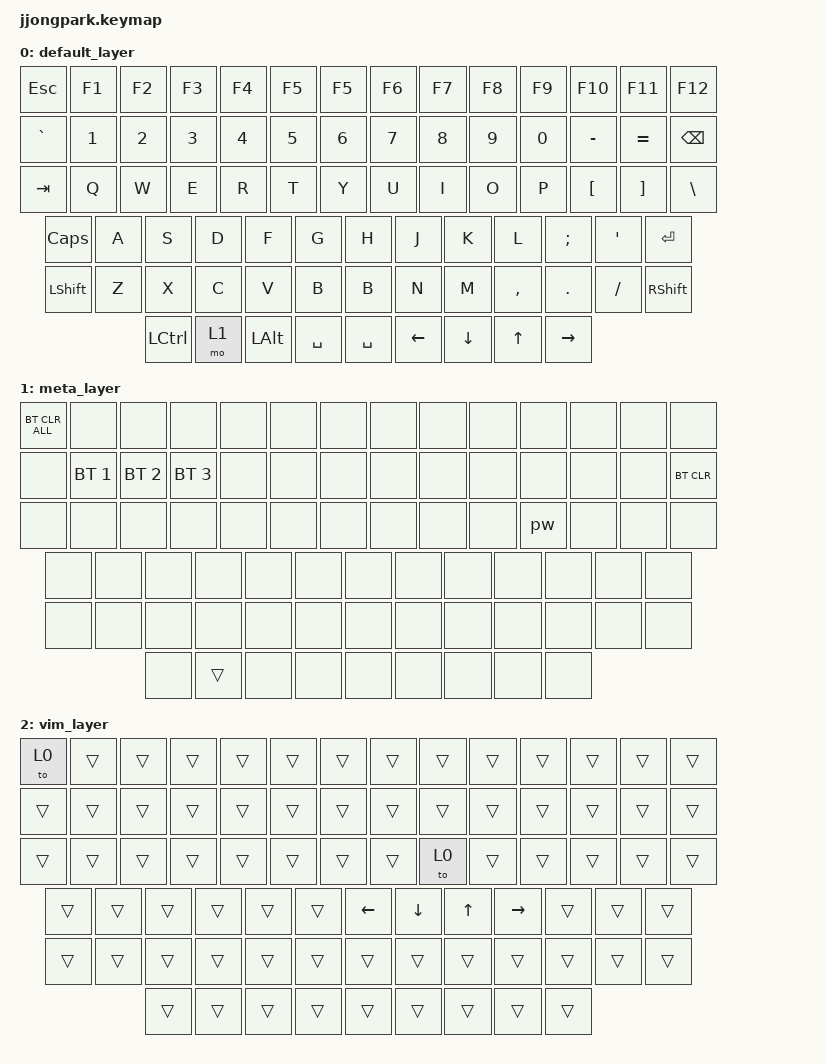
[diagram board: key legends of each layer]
#include <behaviors.dtsi>
#include <dt-bindings/zmk/keys.h>
#include <dt-bindings/zmk/bt.h>

/ {
    combos {
        compatible = "zmk,combos";
        combo_jk {
            timeout-ms = <100>;
            key-positions = <49 50>;
            bindings = <&to 2>;
        };
    };

    macros {
        pw: pw {
            compatible = "zmk,behavior-macro";
            #binding-cells = <0>;
            bindings
                = <&macro_tap &kp N7 &kp N7 &kp N4 &kp N9>
                , <&macro_press &kp LSHIFT>
                , <&macro_tap &kp M>
                , <&macro_release &kp LSHIFT>
                , <&macro_tap &kp S &kp C &kp D &kp EXCL &kp ENTER>
                ;
        }; 
    };

    keymap {
        compatible = "zmk,keymap";

        default_layer {
            bindings = <
                &kp ESC             &kp F1  &kp F2  &kp F3  &kp F4  &kp F5 &kp F5 &kp F6 &kp F7 &kp F8 &kp F9 &kp F10 &kp F11 &kp F12
                &kp GRAVE  &kp N1   &kp N2  &kp N3  &kp N4  &kp N5  &kp N6 &kp N7         &kp N8 &kp N9 &kp N0 &kp MINUS &kp EQUAL &kp BSPC
                &kp TAB    &kp Q    &kp W   &kp E   &kp R   &kp T          &kp Y &kp U &kp I &kp O &kp P &kp LBKT &kp RBKT &kp BSLH
                &kp CAPS   &kp A    &kp S   &kp D   &kp F   &kp G          &kp H &kp J &kp K &kp L &kp SEMI &kp APOS &kp ENTER
                &kp LSHIFT &kp Z    &kp X   &kp C   &kp V   &kp B          &kp B &kp N &kp M &kp COMMA &kp DOT &kp SLASH &kp RSHIFT
                &kp LCTRL  &mo 1    &kp LALT        &kp SPACE              &kp SPACE &kp LEFT &kp DOWN &kp UP &kp RIGHT
            >;
        };
        meta_layer {
            bindings = <
                &bt BT_CLR_ALL &none &none &none &none &none &none &none &none &none &none &none &none &none
                &none &bt BT_SEL 1 &bt BT_SEL 2 &bt BT_SEL 3 &none &none &none &none &none &none &none &none &none &bt BT_CLR
                &none &none &none &none &none &none &none &none &none &none &pw &none &none &none
                &none &none &none &none &none &none &none &none &none &none &none &none &none   
                &none &none &none &none &none &none &none &none &none &none &none &none &none 
                &none &trans &none &none    &none     &none &none &none &none 
            >;
        };
        vim_layer {
            bindings = <
                &to 0 &trans &trans &trans &trans &trans &trans &trans &trans &trans &trans &trans &trans &trans
                &trans &trans &trans &trans &trans &trans &trans &trans &trans &trans &trans &trans &trans &trans
                &trans &trans &trans &trans &trans &trans &trans &trans &to 0 &trans &trans &trans &trans &trans
                &trans &trans &trans &trans &trans &trans &kp LEFT &kp DOWN &kp UP &kp RIGHT &trans &trans &trans   
                &trans &trans &trans &trans &trans &trans &trans &trans &trans &trans &trans &trans &trans 
                &trans &trans &trans &trans    &trans     &trans &trans &trans &trans 
            >;

        };
    };
};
